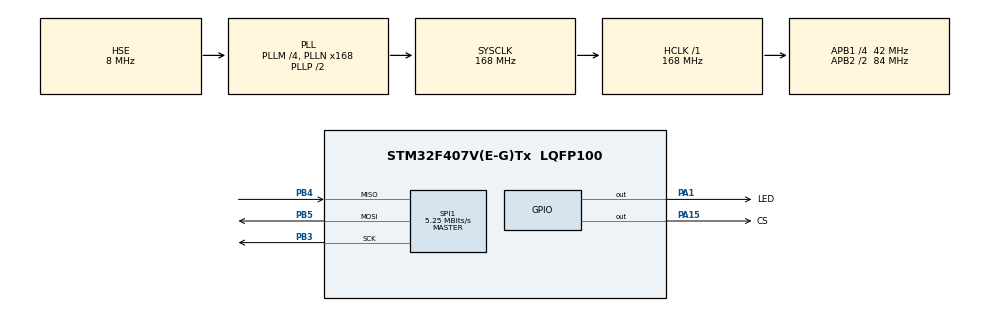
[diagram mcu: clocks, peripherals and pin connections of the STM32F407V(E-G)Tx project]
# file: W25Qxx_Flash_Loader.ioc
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Mcu.Family=STM32F4
Mcu.Name=STM32F407V(E-G)Tx
Mcu.Package=LQFP100
NVIC.PriorityGroup=NVIC_PRIORITYGROUP_4
PA1.GPIO_Label=LED
PA1.Signal=GPIO_Output
PA13.Mode=Serial_Wire
PA13.Signal=SYS_JTMS-SWDIO
PA14.Mode=Serial_Wire
PA14.Signal=SYS_JTCK-SWCLK
PA15.GPIO_Label=CS
PA15.Signal=GPIO_Output
PB3.Mode=Full_Duplex_Master
PB3.Signal=SPI1_SCK
PB4.Mode=Full_Duplex_Master
PB4.Signal=SPI1_MISO
PB5.Mode=Full_Duplex_Master
PB5.Signal=SPI1_MOSI
PH0-OSC_IN.Mode=HSE-External-Oscillator
PH0-OSC_IN.Signal=RCC_OSC_IN
PH1-OSC_OUT.Mode=HSE-External-Oscillator
PH1-OSC_OUT.Signal=RCC_OSC_OUT
ProjectManager.HeapSize=0x200
ProjectManager.StackSize=0x400
ProjectManager.TargetToolchain=STM32CubeIDE
RCC.48MHZClocksFreq_Value=84000000
RCC.AHBFreq_Value=168000000
RCC.APB1CLKDivider=RCC_HCLK_DIV4
RCC.APB1Freq_Value=42000000
RCC.APB1TimFreq_Value=84000000
RCC.APB2CLKDivider=RCC_HCLK_DIV2
RCC.APB2Freq_Value=84000000
RCC.APB2TimFreq_Value=168000000
RCC.CortexFreq_Value=168000000
RCC.HCLKFreq_Value=168000000
RCC.HSE_VALUE=8000000
RCC.HSI_VALUE=16000000
RCC.LSE_VALUE=32768
RCC.PLLM=4
RCC.PLLN=168
RCC.PLLSourceVirtual=RCC_PLLSOURCE_HSE
RCC.SYSCLKFreq_VALUE=168000000
RCC.SYSCLKSource=RCC_SYSCLKSOURCE_PLLCLK
RCC.VCOOutputFreq_Value=336000000
SPI1.BaudRatePrescaler=SPI_BAUDRATEPRESCALER_16
SPI1.CalculateBaudRate=5.25 MBits/s
SPI1.Direction=SPI_DIRECTION_2LINES
SPI1.Mode=SPI_MODE_MASTER
SPI1.VirtualType=VM_MASTER
board=custom

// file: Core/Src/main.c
/* USER CODE BEGIN Header */
/**
 ******************************************************************************
 * @file           : main.c
 * @brief          : Main program body
 ******************************************************************************
 * @attention
 *
 * Copyright (c) 2025 STMicroelectronics.
 * All rights reserved.
 *
 * This software is licensed under terms that can be found in the LICENSE file
 * in the root directory of this software component.
 * If no LICENSE file comes with this software, it is provided AS-IS.
 *
 ******************************************************************************
 */
/* USER CODE END Header */
#include "main.h"
#include "spi.h"
#include "gpio.h"

/* USER CODE BEGIN Includes */
#include "w25q.h"
#include <stdio.h>
#include <string.h>
/* USER CODE END Includes */

void SystemClock_Config(void);

/* USER CODE BEGIN 0 */
int __io_putchar(int ch)
{
	ITM_SendChar(ch);

	return ch;
}
// Callbacks de hardware de ejemplo
static int32_t example_spi_init(void *user_ctx)
{
	MX_SPI1_Init();
	// Inicializar hardware SPI aquí
	return 0;
}

static int32_t example_spi_write_read(void *user_ctx, const uint8_t *tx, uint8_t *rx, size_t len)
{
	int32_t ret = HAL_OK;
	// Implementar transferencia SPI aquí
	if(tx == NULL)
	{
		ret = HAL_SPI_Receive(&hspi1, rx, len, HAL_MAX_DELAY);
	}
	else if(rx == NULL)
	{
		ret = HAL_SPI_Transmit(&hspi1, tx, len, HAL_MAX_DELAY);
	}
	else
	{
		ret = HAL_SPI_TransmitReceive(&hspi1, tx, rx, len, HAL_MAX_DELAY);
	}

	LED_GPIO_Port->ODR ^= LED_Pin;

	return ret;
}

static void example_cs_control(void *user_ctx, bool level)
{
	HAL_GPIO_WritePin(CS_GPIO_Port, CS_Pin, level ? GPIO_PIN_RESET : GPIO_PIN_SET);
}

static void example_delay_ms(uint32_t ms)
{
	HAL_Delay(ms);
}

static void example_lock(void *user_ctx) {}
static void example_unlock(void *user_ctx) {}

static w25q_hw_t example_hw = {
		.spi_init = example_spi_init,
		.spi_write_read = example_spi_write_read,
		.cs_control = example_cs_control,
		.delay_ms = example_delay_ms,
		.lock = example_lock,
		.unlock = example_unlock
};

w25q_handle_t flash;

w25q_config_t config = {
		.hw = &example_hw,
		.user_ctx = NULL,
		.timeout_ms = 5000,
		.software_cs = true
};

HAL_StatusTypeDef HAL_InitTick(uint32_t TickPriority)
{
	/* Configure the SysTick to have interrupt in 1ms time basis*/
	uint32_t ticks = SystemCoreClock / 1000;
	SysTick->CTRL  = 0;
	SysTick->LOAD = ticks - 1;
	SysTick->VAL = 0;
	SysTick->CTRL |= SysTick_CTRL_CLKSOURCE_Msk | SysTick_CTRL_ENABLE_Msk;

	/* Return function status */
	return HAL_OK;
}
uint32_t HAL_GetTick(void)
{
	return 0;
}

void HAL_Delay(uint32_t Delay)
{
	for(uint32_t i = 0; i<Delay; i++)
	{
		while(!(SysTick->CTRL & SysTick_CTRL_COUNTFLAG_Msk));
	}

	return;
}
/* USER CODE END 0 */

int main(void)
{

  /* MCU Configuration--------------------------------------------------------*/

  /* Reset of all peripherals, Initializes the Flash interface and the Systick. */
  HAL_Init();

  /* Configure the system clock */
  SystemClock_Config();

  /* Initialize all configured peripherals */
  MX_GPIO_Init();
  MX_SPI1_Init();
  /* USER CODE BEGIN 2 */

	return 0;
  /* USER CODE END 2 */

  /* Infinite loop */
	while (1)
	{

	}
}

void SystemClock_Config(void)
{
  RCC_OscInitTypeDef RCC_OscInitStruct = {0};
  RCC_ClkInitTypeDef RCC_ClkInitStruct = {0};

  /** Configure the main internal regulator output voltage
  */
  __HAL_RCC_PWR_CLK_ENABLE();
  __HAL_PWR_VOLTAGESCALING_CONFIG(PWR_REGULATOR_VOLTAGE_SCALE1);

  /** Initializes the RCC Oscillators according to the specified parameters
  * in the RCC_OscInitTypeDef structure.
  */
  RCC_OscInitStruct.OscillatorType = RCC_OSCILLATORTYPE_HSE;
  RCC_OscInitStruct.HSEState = RCC_HSE_ON;
  RCC_OscInitStruct.PLL.PLLState = RCC_PLL_ON;
  RCC_OscInitStruct.PLL.PLLSource = RCC_PLLSOURCE_HSE;
  RCC_OscInitStruct.PLL.PLLM = 4;
  RCC_OscInitStruct.PLL.PLLN = 168;
  RCC_OscInitStruct.PLL.PLLP = RCC_PLLP_DIV2;
  RCC_OscInitStruct.PLL.PLLQ = 4;
  if (HAL_RCC_OscConfig(&RCC_OscInitStruct) != HAL_OK)
  {
    Error_Handler();
  }

  /** Initializes the CPU, AHB and APB buses clocks
  */
  RCC_ClkInitStruct.ClockType = RCC_CLOCKTYPE_HCLK|RCC_CLOCKTYPE_SYSCLK
                              |RCC_CLOCKTYPE_PCLK1|RCC_CLOCKTYPE_PCLK2;
  RCC_ClkInitStruct.SYSCLKSource = RCC_SYSCLKSOURCE_PLLCLK;
  RCC_ClkInitStruct.AHBCLKDivider = RCC_SYSCLK_DIV1;
  RCC_ClkInitStruct.APB1CLKDivider = RCC_HCLK_DIV4;
  RCC_ClkInitStruct.APB2CLKDivider = RCC_HCLK_DIV2;

  if (HAL_RCC_ClockConfig(&RCC_ClkInitStruct, FLASH_LATENCY_5) != HAL_OK)
  {
    Error_Handler();
  }
}

void Error_Handler(void)
{
	__disable_irq();
	while (1)
	{
	}
}
